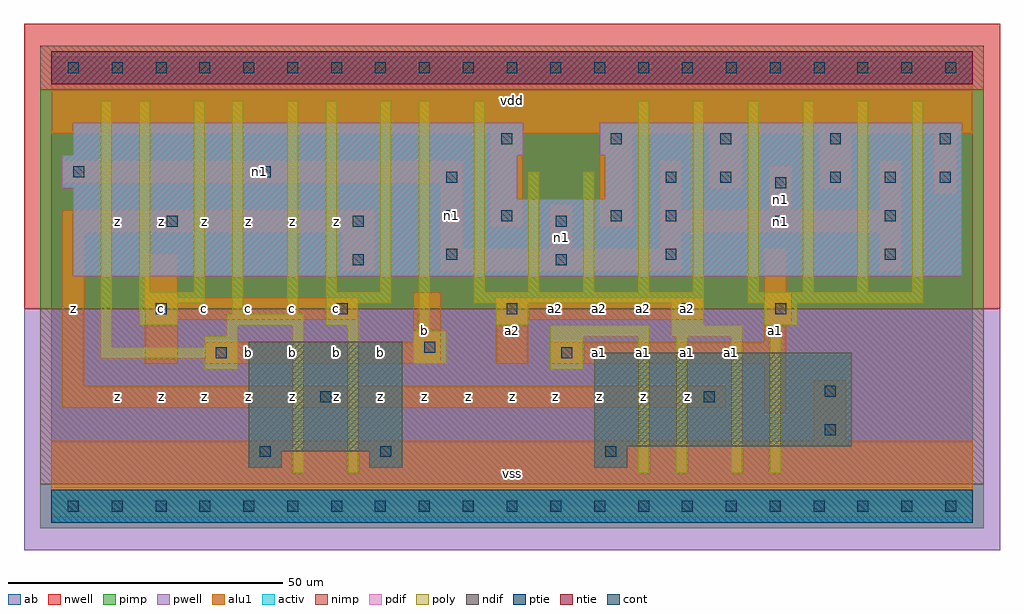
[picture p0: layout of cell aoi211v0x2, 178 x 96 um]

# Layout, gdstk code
import gdstk
lib = gdstk.Library(unit=1e-6, precision=1e-09)
def R(c, l, rs):  # rectangles x0, y0, x1, y1
    for r in rs: c.add(gdstk.rectangle(r[:2], r[2:], *l))
def A(c, l, x, y, w, h, nx, ny, dx, dy):  # array of equal rectangles
    R(c, l, [(x+i*dx, y+j*dy, x+i*dx+w, y+j*dy+h) for i in range(nx) for j in range(ny)])
ndif = (3, 0)
pdif = (4, 0)
ntie = (5, 0)
ptie = (6, 0)
cont = (25, 0)
pwell = (41, 0)
nwell = (42, 0)
activ = (43, 0)
pimp = (44, 0)
nimp = (45, 0)
poly = (46, 0)
alu1 = (49, 0)
ab = (63, 0)

aoi211v0x2 = lib.new_cell('aoi211v0x2')
R(aoi211v0x2, ndif, [(36,7,42,10), (58,7,64,10), (99,7,105,11), (36,10,64,30), (99,11,146,28)])
R(aoi211v0x2, pdif, [(4,42,166,56), (4,56,85,58), (101,56,166,64), (2,58,85,64), (4,64,86,70), (100,64,166,70)])
R(aoi211v0x2, ntie, [(0,77,168,83)])
R(aoi211v0x2, ptie, [(0,-3,168,3)])
A(aoi211v0x2, cont, 3, -1, 2, 2, 21, 2, 8, 80)
A(aoi211v0x2, cont, 72, 45, 2, 2, 3, 1, 40, 0)
A(aoi211v0x2, cont, 142, 59, 2, 2, 3, 1, 10, 0)
A(aoi211v0x2, cont, 82, 66, 2, 2, 5, 1, 20, 0)
R(aoi211v0x2, cont, [(38,9,40,11), (60,9,62,11), (101,9,103,11), (141,13,143,15), (49,19,51,21), (119,19,121,21), (141,20,143,22), (30,27,32,29), (93,27,95,29), (68,28,70,30), (19,35,21,37), (52,35,54,37), (83,35,85,37), (115,35,117,37), (132,35,134,37), (55,44,57,46), (92,44,94,46), (21,51,23,53), (55,51,57,53), (92,51,94,53), (132,51,134,53), (72,52,74,54), (82,52,84,54), (102,52,104,54), (112,52,114,54), (152,52,154,54), (132,58,134,60), (72,59,74,61), (112,59,114,61), (122,59,124,61), (4,60,6,62), (38,60,40,62)])
R(aoi211v0x2, pwell, [(-5,-8,173,36)])
R(aoi211v0x2, nwell, [(-5,36,173,88)])
R(aoi211v0x2, activ, [(0,-3,168,3), (36,7,42,10), (58,7,64,10), (99,7,105,11), (36,10,64,30), (99,11,146,28), (4,42,166,56), (4,56,85,58), (101,56,166,64), (2,58,85,64), (4,64,86,70), (100,64,166,70), (0,77,168,83)])
R(aoi211v0x2, pimp, [(-2,-4,170,4), (-2,36,170,76)])
R(aoi211v0x2, nimp, [(-2,4,170,36), (-2,76,170,84)])
A(aoi211v0x2, poly, 107, 39, 2, 35, 6, 1, 10, 0)
R(aoi211v0x2, poly, [(44,6,46,33), (54,6,56,33), (107,6,109,31), (114,6,116,31), (124,6,126,31), (131,6,133,33), (28,25,34,27), (91,25,97,31), (66,26,72,32), (9,27,34,29), (9,29,11,74), (28,29,34,31), (32,31,34,33), (91,31,109,33), (113,31,126,33), (67,32,69,74), (16,33,23,37), (32,33,46,35), (50,33,56,37), (81,33,87,37), (113,33,119,37), (130,33,136,37), (33,35,35,74), (43,35,45,74), (16,37,28,39), (50,37,62,39), (77,37,119,39), (127,37,159,39), (16,39,18,74), (26,39,28,74), (50,39,52,74), (60,39,62,74), (77,39,79,74), (87,39,89,61), (97,39,99,61)])
R(aoi211v0x2, alu1, [(0,-2,168,12), (139,12,145,23), (130,17,134,26), (2,18,123,22), (2,22,6,50), (17,26,23,34), (28,26,71,30), (81,26,87,34), (91,26,134,30), (66,30,71,39), (130,30,134,33), (130,33,135,39), (17,34,56,38), (81,34,119,38), (17,38,23,46), (130,39,134,47), (53,43,59,50), (71,43,115,47), (151,43,155,50), (71,47,75,59), (91,47,95,55), (111,47,115,50), (2,50,59,54), (111,50,155,54), (80,51,86,68), (100,51,106,68), (111,54,115,63), (131,54,135,62), (151,54,155,63), (161,57,165,68), (120,58,126,68), (140,58,146,68), (2,59,75,63), (0,68,168,82)])
R(aoi211v0x2, ab, [(0,0,168,80)])
aoi211v0x2.add(gdstk.Label('n1', (93,49), layer=49, texttype=0))
aoi211v0x2.add(gdstk.Label('n1', (73,53), layer=49, texttype=0))
aoi211v0x2.add(gdstk.Label('n1', (38,61), layer=49, texttype=0))
aoi211v0x2.add(gdstk.Label('n1', (133,56), layer=49, texttype=0))
aoi211v0x2.add(gdstk.Label('n1', (133,52), layer=49, texttype=0))
aoi211v0x2.add(gdstk.Label('z', (28,20), layer=49, texttype=0))
aoi211v0x2.add(gdstk.Label('z', (20,20), layer=49, texttype=0))
aoi211v0x2.add(gdstk.Label('z', (12,20), layer=49, texttype=0))
aoi211v0x2.add(gdstk.Label('c', (28,36), layer=49, texttype=0))
aoi211v0x2.add(gdstk.Label('c', (20,36), layer=49, texttype=0))
aoi211v0x2.add(gdstk.Label('z', (4,36), layer=49, texttype=0))
aoi211v0x2.add(gdstk.Label('z', (28,52), layer=49, texttype=0))
aoi211v0x2.add(gdstk.Label('z', (20,52), layer=49, texttype=0))
aoi211v0x2.add(gdstk.Label('z', (12,52), layer=49, texttype=0))
aoi211v0x2.add(gdstk.Label('b', (60,28), layer=49, texttype=0))
aoi211v0x2.add(gdstk.Label('z', (60,20), layer=49, texttype=0))
aoi211v0x2.add(gdstk.Label('b', (52,28), layer=49, texttype=0))
aoi211v0x2.add(gdstk.Label('z', (52,20), layer=49, texttype=0))
aoi211v0x2.add(gdstk.Label('b', (44,28), layer=49, texttype=0))
aoi211v0x2.add(gdstk.Label('z', (44,20), layer=49, texttype=0))
aoi211v0x2.add(gdstk.Label('b', (36,28), layer=49, texttype=0))
aoi211v0x2.add(gdstk.Label('z', (36,20), layer=49, texttype=0))
aoi211v0x2.add(gdstk.Label('c', (52,36), layer=49, texttype=0))
aoi211v0x2.add(gdstk.Label('c', (44,36), layer=49, texttype=0))
aoi211v0x2.add(gdstk.Label('c', (36,36), layer=49, texttype=0))
aoi211v0x2.add(gdstk.Label('z', (52,52), layer=49, texttype=0))
aoi211v0x2.add(gdstk.Label('z', (44,52), layer=49, texttype=0))
aoi211v0x2.add(gdstk.Label('z', (36,52), layer=49, texttype=0))
aoi211v0x2.add(gdstk.Label('vss', (84,6), layer=49, texttype=0))
aoi211v0x2.add(gdstk.Label('z', (68,20), layer=49, texttype=0))
aoi211v0x2.add(gdstk.Label('z', (92,20), layer=49, texttype=0))
aoi211v0x2.add(gdstk.Label('z', (84,20), layer=49, texttype=0))
aoi211v0x2.add(gdstk.Label('z', (76,20), layer=49, texttype=0))
aoi211v0x2.add(gdstk.Label('a2', (84,32), layer=49, texttype=0))
aoi211v0x2.add(gdstk.Label('b', (68,32), layer=49, texttype=0))
aoi211v0x2.add(gdstk.Label('a2', (92,36), layer=49, texttype=0))
aoi211v0x2.add(gdstk.Label('vdd', (84,74), layer=49, texttype=0))
aoi211v0x2.add(gdstk.Label('a1', (100,28), layer=49, texttype=0))
aoi211v0x2.add(gdstk.Label('z', (100,20), layer=49, texttype=0))
aoi211v0x2.add(gdstk.Label('a1', (124,28), layer=49, texttype=0))
aoi211v0x2.add(gdstk.Label('a1', (116,28), layer=49, texttype=0))
aoi211v0x2.add(gdstk.Label('z', (116,20), layer=49, texttype=0))
aoi211v0x2.add(gdstk.Label('a1', (108,28), layer=49, texttype=0))
aoi211v0x2.add(gdstk.Label('z', (108,20), layer=49, texttype=0))
aoi211v0x2.add(gdstk.Label('a1', (132,32), layer=49, texttype=0))
aoi211v0x2.add(gdstk.Label('a2', (100,36), layer=49, texttype=0))
aoi211v0x2.add(gdstk.Label('a2', (116,36), layer=49, texttype=0))
aoi211v0x2.add(gdstk.Label('a2', (108,36), layer=49, texttype=0))

lib.write_gds('aoi211v0x2.gds')
